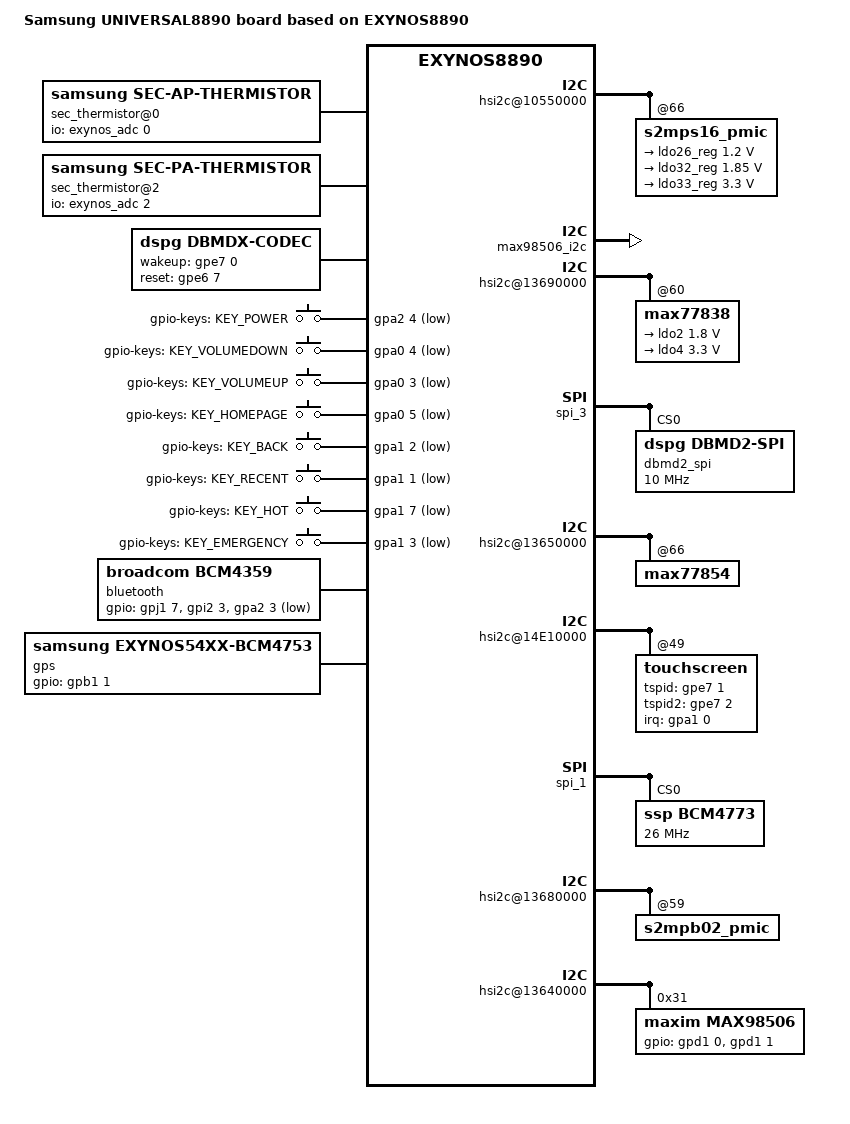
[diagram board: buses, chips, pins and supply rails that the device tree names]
/*
 * SAMSUNG UNIVERSAL8890 board device tree source
 *
 * Copyright (c) 2013 Samsung Electronics Co., Ltd.
 *		http://www.samsung.com
 *
 * This program is free software; you can redistribute it and/or modify
 * it under the terms of the GNU General Public License version 2 as
 * published by the Free Software Foundation.
*/

/dts-v1/;
#include "exynos8890-herolte_common.dtsi"
#include "exynos8890-haechilte_kor_gpio_00.dtsi"
#include "exynos8890-haechilte_battery_kor_00.dtsi"
#include "exynos8890-sound-cs47l91.dtsi"
#include "exynos8890-haechilte-sound.dtsi"
#include "exynos8890-luckylte_mst.dtsi"
#include "exynos8890-haechilte_display_00.dtsi"
#include "exynos8890-haechilte_motor.dtsi"
#include "exynos8890-haechilte_svcled.dtsi"

/ {
	model = "Samsung UNIVERSAL8890 board based on EXYNOS8890";
	model_info-chip = <8890>;
	model_info-platform = "android";
	model_info-subtype = "samsung";
	model_info-hw_rev = <1>;
	model_info-hw_rev_end = <1>;
	compatible = "samsung,exynos8890", "samsung,UNIVERSAL8890";

	audio_pdata {
		compatible = "samsung,audio-pdata";

		imp_table_CAN = <
			/* min      max gain */
			   0         13    0
			  14         42    8
			  43        100   11
			 101        200   14
			 201        450   15
			 451       1000   15
			1001 0x7fffffff   11
		>;

		seamless_voicewakeup;
		status = "okay";
	};

	hsi2c@10550000{
		s2mps16_pmic@66 {
			regulators {
				ldo26_reg: LDO26 {
					regulator-name = "VDD_DSP_1P2";
					regulator-min-microvolt = <1200000>;
					regulator-max-microvolt = <1200000>;
					regulator-boot-on;
					regulator-always-on;
					regulator-initial-mode = <3>;
				};
			};
		};
	};

	pinctrl@10580000 {
		codec_irq: codec-irq {
			samsung,pins = "gpa2-6";
			samsung,pin-function = <0xf>;
			samsung,pin-pud = <0>;
		};
		max98506_ctrl_1: max98506-ctl-1 {
			samsung,pins ="gpa2-2";
			samsung,pin-function = <0>;
			samsung,pin-pud = <0>;
			samsung,pin-con-pdn =<2>;
			samsung,pin-pud-pdn = <0>;
		};
		max98506_ctrl_2: max98506-ctl-2 {
			samsung,pins ="gpa2-0";
			samsung,pin-function = <0>;
			samsung,pin-pud = <0>;
			samsung,pin-con-pdn =<2>;
			samsung,pin-pud-pdn = <0>;
		};
	};

	pinctrl@136D0000 {
		max98506_i2c: max98506-i2c {
			samsung,pins = "gpd1-0", "gpd1-1";
			samsung,pin-pud = <0>;
			status = "okay";
		};
	};

	hsi2c@10550000{
		status = "okay";

		s2mps16_pmic@66 {
			regulators {
				ldo32_reg: LDO32 {
					regulator-name = "tsp_io";
					regulator-min-microvolt = <1850000>;
					regulator-max-microvolt = <1850000>;
				};

				ldo33_reg: LDO33 {
					regulator-name = "tsp_avdd";
					regulator-min-microvolt = <3300000>;
					regulator-max-microvolt = <3300000>;
				};
			};
		};
	};

	hsi2c@13690000 {
		status = "okay";

		max77838@60 {
			regulators {
				ldo2: LDO2 {
					regulator-name = "HRM_1.8V_AP";
					regulator-min-microvolt = <1800000>;
					regulator-max-microvolt = <1800000>;
				};
				ldo4: LDO4 {
					regulator-name = "HRM_3.3V_AP";
					regulator-min-microvolt = <3300000>;
					regulator-max-microvolt = <3300000>;
				};
			};
		};
	};

	spi_3: spi@14d50000 {
		num-cs = <1>;
		status = "okay";
	#address-cells = <1>;
	#size-cells = <0>;
		pinctrl-names = "default";
		pinctrl-0 = <&spi3_bus &spi3_cs_func>;

		/delete-property/ pinctrl-1;
		/delete-property/ samsung,ese-oberthur;

		dbmd2_spi:dbmd2_interface@0x0  {
			compatible = "dspg,dbmd2-spi";
			spi-max-frequency = <10000000>;
			read-chunk-size  = <0x2000>;
			write-chunk-size = <0x40000>;
			dma_min_buffer_size = <0>;
			reg = <0>;
			gpio-controller;
		#gpio-cells = <2>;

			controller-data {
				cs-gpio = <&gpf2 1 0>;
				samsung,spi-feedback-delay = <0>;
				samsung,spi-chip-select-mode = <0>;
			};

		};
		/delete-node/ ese_spi@0;
	};

	sec_thermistor@0 {
                compatible = "samsung,sec-ap-thermistor";
                status = "okay";

                adc_array = <300 309 317 326 334 343 354 365 375 386
                          397 412 426 441 456 471 485 500 515 529
                          544 562 580 598 616 634 657 679 702 724
                          747 773 799 824 850 876 905 934 963 992
                          1021 1056 1091 1125 1160 1195 1229 1262 1296 1329
                          1363 1401 1439 1476 1514 1552 1600 1648 1696 1744
                          1792 1836 1880 1924 1968 2012 2055 2099 2143 2187
                          2231 2281 2331 2381 2431 2482 2532 2582 2632 2682
                          2732 2773 2813 2854 2894 2935 2974 3013 3053 3092
                          3131 3165 3199 3234 3268 3302 3331 3359 3388 3416
                          3445 3469 3493 3517 3541 3565 3588 3612 3636 3660
                          3684>;
                temp_array = <900 890 880 870 860 850 840 830 820 810
                        800 790 780 770 760 750 740 730 720 710
                        700 690 680 670 660 650 640 630 620 610
                        600 590 580 570 560 550 540 530 520 510
                        500 490 480 470 460 450 440 430 420 410
                        400 390 380 370 360 350 340 330 320 310
                        300 290 280 270 260 250 240 230 220 210
                        200 190 180 170 160 150 140 130 120 110
                        100 90 80 70 60 50 40 30 20 10
                        0 (-10) (-20) (-30) (-40) (-50) (-60) (-70) (-80) (-90)
                        (-100)(-110)(-120)(-130)(-140)(-150)(-160)(-170)(-180)(-190)
                        (-200)>;

                io-channels = <&exynos_adc 0>;
                io-channel-names = "adc-ap-temp";
                io-channel-ranges;
	};

	sec_thermistor@2 {
                compatible = "samsung,sec-pa-thermistor";
                status = "okay";

                adc_array = <309 318 327 335 344 353 364 375 386 397
                        408 423 437 452 466 481 496 510 525 539
                        554 574 593 613 632 652 674 696 719 741
                        763 789 815 840 866 892 921 951 980 1010
                        1039 1074 1109 1143 1178 1213 1247 1281 1316 1350
                        1384 1420 1457 1493 1530 1566 1614 1662 1709 1757
                        1805 1849 1893 1937 1981 2026 2070 2114 2158 2202
                        2246 2296 2346 2397 2447 2497 2547 2597 2648 2698
                        2748 2789 2830 2872 2913 2954 2992 3029 3067 3104
                        3142 3177 3211 3246 3280 3315 3345 3375 3404 3434
                        3464 3487 3509 3532 3555 3578 3600 3623 3646 3668
                        3691>;
                temp_array = <900 890 880 870 860 850 840 830 820 810
                        800 790 780 770 760 750 740 730 720 710
                        700 690 680 670 660 650 640 630 620 610
                        600 590 580 570 560 550 540 530 520 510
                        500 490 480 470 460 450 440 430 420 410
                        400 390 380 370 360 350 340 330 320 310
                        300 290 280 270 260 250 240 230 220 210
                        200 190 180 170 160 150 140 130 120 110
                        100 90 80 70 60 50 40 30 20 10
                        0 (-10) (-20) (-30) (-40) (-50) (-60) (-70) (-80) (-90)
                        (-100)(-110)(-120)(-130)(-140)(-150)(-160)(-170)(-180)(-190)
                        (-200)>;

                io-channels = <&exynos_adc 2>;
                io-channel-names = "adc-pa-temp";
                io-channel-ranges;
        };

	dbmdx_event {
		status = "okay";
		compatible = "samsung,dbmdx-event";
	};

	dbmdx-snd-soc-platform {
		compatible = "dspg,dbmdx-snd-soc-platform";
	};

	snd-dbmdx-mach-drv {
		compatible = "dspg,snd-dbmdx-mach-drv";
	};

	dbmdx {
		status = "okay";
		compatible = "dspg,dbmdx-codec";

		reg = <0x0>;
		gpio-controller;
	#gpio-cells = <2>;

		pinctrl-names ="default";
		pinctrl-0 = <&dbmdx_wakeup &dbmdx_rst>;

		wakeup-gpio = <&gpe7 0 0>; /* VOICE_WAKE */
		reset-gpio = <&gpe6 7 0>; /* VOICE_RST */
		cmd-interface = <&dbmd2_spi>;
		feature-vqe; /* enable VQE */
		vqe-firmware-name = "dbmd2_vqe_fw.bin";

		va-speeds = <0x0000 0 0 960000
					0x0000 0 0 960000
					0x0000 0 0 4800000 >;
		/* vqe-config = < >; */
		vqe-modes = <0 1 2 3 4 5 0x100>;
		master-clk-rate = <26000000>;
		clocks = <&clock 1001>;
		clock-names = "dbmdx_constant_clk";
		constant-clk-rate = <26000000>;
		firmware_id = <0xdbd2>;
		wakeup_set_value = <1>;	/* Value to write to wakeup gpio */
	};

	pinctrl@14CC0000 {
		codec_reset: codec-reset {
			samsung,pins ="gpe6-5";
			samsung,pin-function = <1>;
			samsung,pin-pud = <1>;
			samsung,pin-con-pdn =<3>;
			samsung,pin-pud-pdn = <1>;
			samsung,pin-val = <0>;
		};
		dbmdx_wakeup: dbmdx-wakeup {
			samsung,pins ="gpe7-0";
			samsung,pin-function = <1>;
			samsung,pin-pud = <3>;
			samsung,pin-con-pdn =<3>;
			samsung,pin-pud-pdn = <3>;
			samsung,pin-val = <1>;
		};
		dbmdx_rst: dbmdx-rst {
			samsung,pins ="gpe6-7";
			samsung,pin-function = <1>;
			samsung,pin-pud = <3>;
			samsung,pin-con-pdn =<3>;
			samsung,pin-pud-pdn = <3>;
			samsung,pin-val = <1>;
		};
	};

	hsi2c@13650000 {
		status = "okay";

		max77854@66 {
			status = "okay";
		};
	};

	hsi2c@14E10000 {
		touchscreen@48{
			status = "disabled";
		};

		touchscreen@49{
			status = "okay";
			stm,tspid_gpio = <&gpe7 1 0>;
			stm,tspid2_gpio = <&gpe7 2 0>;
			stm,irq_gpio = <&gpa1 0 0>;
			stm,irq_type = <8200>;
			stm,project_name = "PS-LTE", "G880";
			stm,firmware_name = "tsp_stm/fts7bd50_haechi.fw";
		};
	};

	i2c@20 {
		touchkey@20 {
			status = "disabled";
		};
	};

	/* Disable NFC : gpa1-2 : key_back */
	hsi2c@13670000 {
		status = "disabled";
	};

	pinctrl@10580000 {
		key_back: key-back {
			samsung,pins = "gpa1-2";
			samsung,pin-function = <0xf>;
			samsung,pin-pud = <0>;
			samsung,pin-drv = <0>;
		};
		key_recent: key-recent {
			samsung,pins = "gpa1-1";
			samsung,pin-function = <0xf>;
			samsung,pin-pud = <0>;
			samsung,pin-drv = <0>;
		};
		key_hot: key-hot {
			samsung,pins = "gpa1-7";
			samsung,pin-function = <0xf>;
			samsung,pin-pud = <0>;
			samsung,pin-drv = <0>;
		};
		key_emergency: key-emergency {
			samsung,pins = "gpa1-3";
			samsung,pin-function = <0xf>;
			samsung,pin-pud = <0>;
			samsung,pin-drv = <0>;

		};
	};

	gpio_keys {
		status = "okay";
		compatible = "gpio-keys";
		#address-cells = <1>;
		#size-cells = <0>;
		pinctrl-names = "default";
		pinctrl-0 = <&key_power &key_voldown &key_volup &key_home &key_back &key_recent &key_hot &key_emergency>;
		button@1 {
			label = "gpio-keys: KEY_POWER";
			interrupts = <4 0 0>;
			interrupt-parent = <&gpa2>;
			linux,code = <116>;
			gpios = <&gpa2 4 0xf>;
			gpio-key,wakeup = <1>;
		};
		button@2 {
			label = "gpio-keys: KEY_VOLUMEDOWN";
			interrupts = <4 0 0>;
			interrupt-parent = <&gpa0>;
			linux,code = <114>;
			gpios = <&gpa0 4 0xf>;
		};
		button@3 {
			label = "gpio-keys: KEY_VOLUMEUP";
			interrupts = <3 0 0>;
			interrupt-parent = <&gpa0>;
			linux,code = <115>;
			gpios = <&gpa0 3 0xf>;
		};
		button@4 {
			label = "gpio-keys: KEY_HOMEPAGE";
			interrupts = <5 0 0>;
			interrupt-parent = <&gpa0>;
			linux,code = <172>;
			gpios = <&gpa0 5 0xf>;
			gpio-key,wakeup = <1>;
		};
		button@5 {
			label = "gpio-keys: KEY_BACK";
			interrupts = <2 0 0>;
			interrupt-parent = <&gpa1>;
			linux,code = <158>;
			gpios = <&gpa1 2 0xf>;
		};
		button@6 {
			label = "gpio-keys: KEY_RECENT";
			interrupts = <1 0 0>;
			interrupt-parent = <&gpa1>;
			linux,code = <254>;
			gpios = <&gpa1 1 0xf>;
		};
		button@7 {
			label = "gpio-keys: KEY_HOT";
			interrupts = <7 0 0>;
			interrupt-parent = <&gpa1>;
			linux,code = <252>;
			gpios = <&gpa1 7 0xf>;
			gpio-key,wakeup = <1>;
		};
		button@8 {
			label = "gpio-keys: KEY_EMERGENCY";
			interrupts = <3 0 0>;
			interrupt-parent = <&gpa1>;
			linux,code = <672>;
			gpios = <&gpa1 3 0xf>;
			gpio-key,wakeup = <1>;
		};
	};

	spi_1: spi@14d30000 {
		#address-cells = <1>;
		#size-cells = <0>;

		pinctrl-names = "default";
		pinctrl-0 = <&spi1_mosi_sck_ssn &spi1_miso>;

		num-cs = <1>;
		status = "okay";

		BCM4773@0 {
			compatible = "ssp,BCM4773";
			reg = <0>;
			spi-max-frequency = <26000000>;
			spi-cpol;
			spi-cpha;
			pinctrl-names = "default";
			pinctrl-0 = <&ssp_host_req &ssp_mcu_req &ssp_mcu_resp &ssp_batch_wake_irq>;

			gpio-controller;
			#gpio-cells = <2>;
			ssp-host-req = <&gpa3 4 0x00>;
			ssp-mcu-req = <&gpe6 4 0x00>;
			ssp-mcu-resp = <&gpg0 2 0x00>;
			ssp-batch-wake-irq = <&gpa3 1 0x00>;
			ssp-acc-position = <1>;
			ssp-mag-position = <1>;
			ssp-sns-combination = <0>;
			ssp,prox-hi_thresh = <2000>;
			ssp,prox-low_thresh = <1400>;
			ssp-ap-rev = <1>;
			ssp-mag-array = <9787 662 79 290 9460 27 200 (-33) 10632>;
			ssp-glass-type = <0>;

			controller-data {
				cs-gpio = <&gpe2 5 0>;
				samsung,spi-feedback-delay = <0>;
				};
			};
	};

	bluetooth {
	compatible = "broadcom,bcm4359";
	gpios = <&gpj1 7 0	/*BT_EN*/
		&gpi2 3 0	/*BT_WAKE*/
		&gpa2 3 0xF	/*BT_HOST_WAKE*/ >;
	pinctrl-names = "default";
	pinctrl-0=<&bt_hostwake &bt_btwake &bt_en>;
	status = "okay";
	};

	gps {
		compatible = "samsung,exynos54xx-bcm4753";

		pinctrl-names = "default";
		//pinctrl-0 = <&ssp_gps_pwr_en &ssp_host_wake>;
		pinctrl-0 = <&ssp_gps_pwr_en>;

		gpios = <&gpb1 1 0x0
			      //&gpa3 1 0x0
				>;
		status = "okay";
	};

	pinctrl@10580000 {
		tflash_en: tfalsh-en {
			samsung,pins = "gpa3-7";
			samsung,pin-pud = <0>;
		};
	};

	pinctrl@15690000 {
		sd2_clk: sd2-clk {
			samsung,pins = "gpj0-0";
			samsung,pin-function = <2>;
			samsung,pin-pud = <0>;
			samsung,pin-drv = <2>;
		};

		sd2_bus1: sd2-bus-width1 {
			samsung,pins = "gpj0-3";
			samsung,pin-function = <2>;
			samsung,pin-pud = <0>;
			samsung,pin-drv = <2>;
		};

		sd2_bus4: sd2-bus-width4 {
			samsung,pins = "gpj0-4", "gpj0-5", "gpj0-6";
			samsung,pin-function = <2>;
			samsung,pin-pud = <0>;
			samsung,pin-drv = <2>;
		};
	};

	pinctrl@14CA0000 {
                fimc_is_flash1_host: fimc-is-flash1-host {
                        samsung,pins = "gpf3-3";
                        samsung,pin-function = <1>;
                        samsung,pin-pud = <0>;
                        samsung,pin-drv = <0>;
                };

                fimc_is_flash1_in: fimc-is-flash1-in {
                        samsung,pins = "gpf3-3";
                        samsung,pin-function = <0>;
                        samsung,pin-pud = <1>;
                        samsung,pin-drv = <0>;
                };
	};

	hsi2c@13680000 {
		s2mpb02_pmic@59 {
			torch {
				leds2 {
					use_torch_current_value;
					torch_current_value = <0x9>;
					factory_torch_current_value = <0xc>;
				};
				leds3 {
					ledname = "torch-sec2";
					/* S2MPB02_TORCH_LED_2 */
					id = <2>;
					/* S2MPB02_TORCH_CURRENT */
					brightness = <0x9>;
					/* S2MPB02_TORCH_TIMEOUT */
					timeout = <0xF>;
					use_torch_current_value;
					torch_current_value = <0x9>;
					factory_torch_current_value = <0xc>;
				};
			};
		};
	};

	leds_ktd2692 {
		compatible = "ktd2692";
		flash_control = <&gpf3 3 0x1>;
		status = "okay";
		pinctrl-names ="default","host","idle";
		pinctrl-0 = <&fimc_is_flash1_in>;
		pinctrl-1 = <&fimc_is_flash1_host>;
		pinctrl-2 = <&fimc_is_flash1_in>;
		torch_current_value = <0x5>;
		factory_torch_current_value = <0x7>;
		torch_table = <0 1 2 2 3 3 4 4 4 4>;
	};

	hsi2c@13640000 {
		status = "okay";
		max98506@31 {
			compatible = "maxim,max98506";
			reg = <0x31>;
			pinctrl-names = "default";
			pinctrl-0 = <&max98506_i2c &max98506_ctrl_1 &max98506_ctrl_2>;
			gpios = <&gpd1 0 0
				&gpd1 1 0
				>;
			i2c-gpio,delay-us = <2>;
			maxim,platform_type = <0>;
			maxim,spk-gain = <0x14>;
			maxim,sysclk = <12288000>;
			maxim,vmon_slot = <0>;
			maxim,interleave = <1>;
			maxim,platform_info = <0 0x4000 0x0F010203 0x0FF10203 0x00000000 50>;
			maxim,boost_step = <
						0x0F 0x0F 0x0F 0x0F
						0x0F 0x0F 0x0F 0x0F
						0x0F 0x0F 0x0F 0x0F
						0x0F 0x0F 0x02 0x00
						>;
			maxim,adc_threshold = <7>;
			maxim,registers-of-amp =
				<0x1F 0x00>,
				<0x21 0xC0>,
				<0x2F 0x00>;
			maxim,sub_reg = <0x34>;
		};
	};
};
